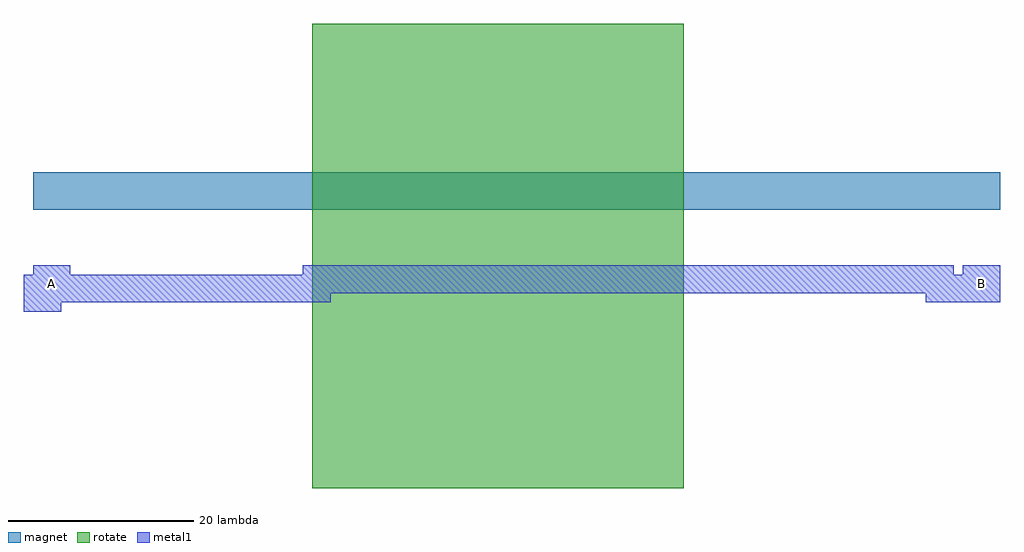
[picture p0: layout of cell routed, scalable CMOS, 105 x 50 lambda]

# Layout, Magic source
magic
tech scmos
<< magnet >>
rect 0 10 104 14
<< rotate >>
rect 30 -20 70 30
<< metal1 >>
rect 0 3 4 4
rect 29 3 99 4
rect 100 3 104 4
rect -1 1 104 3
rect -1 0 32 1
rect 96 0 104 1
rect -1 -1 3 0
<< labels >>
rlabel metal1 0 0 4 4 0 A
rlabel metal1 100 0 104 4 0 B
<< end >>
